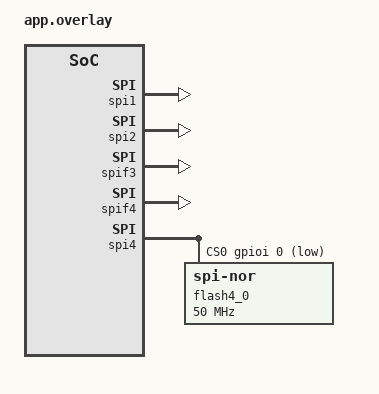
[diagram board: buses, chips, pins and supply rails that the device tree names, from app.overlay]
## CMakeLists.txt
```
# SPDX-License-Identifier: Apache-2.0

cmake_minimum_required(VERSION 3.20.0)

# ---------------------------------------------------------------------------
# pfr_tpm 模块注册。
# 注意：zephyr/west.yml **没有**注册该模块（`west list` 无此项），
# app.overlay 里的 "lsqsh_pinctrl_pfr_tpm.dtsi" 只能靠这里就地注册才能被 DT 预处理找到，
# 否则报 "fatal error: lsqsh_pinctrl_pfr_tpm.dtsi: No such file or directory"。
# 模块目录在两种工作区里命名不同（zephyr_pfr_tpm / pfr_tpm），按存在者取；
# 用相对路径推算（上溯 4 级 = 工作区根），换工作区/WSL 仍可用。
# ---------------------------------------------------------------------------
get_filename_component(PFR_TPM_WS "${CMAKE_CURRENT_SOURCE_DIR}/../../../.." ABSOLUTE)
if(EXISTS "${PFR_TPM_WS}/modules/lib/zephyr_pfr_tpm/zephyr/module.yml")
  set(PFR_TPM_DIR "${PFR_TPM_WS}/modules/lib/zephyr_pfr_tpm")
elseif(EXISTS "${PFR_TPM_WS}/modules/lib/pfr_tpm/zephyr/module.yml")
  set(PFR_TPM_DIR "${PFR_TPM_WS}/modules/lib/pfr_tpm")
else()
  message(FATAL_ERROR "pfr_tpm module not found under ${PFR_TPM_WS}/modules/lib")
endif()
set(EXTRA_ZEPHYR_MODULES ${PFR_TPM_DIR})

find_package(Zephyr REQUIRED HINTS $ENV{ZEPHYR_BASE})
project(cpu1_spi_test)

# 项目特定源文件
# 2026-10-27: spi_loopback.c 删除（外部 SPI1↔SPI3 跳线不可用），
#             新增 spif3 -> flash4_0 的 flash 访问用例。
target_sources(app PRIVATE
    src/main.c
    src/spi_test.c
    src/spi_flash.c)

# 项目特定 include 目录
target_include_directories(app PRIVATE
    ${CMAKE_CURRENT_SOURCE_DIR}/../tests/include)

# 包含公共源文件和配置（test_results.c, ztest_glue.c, gpio_toggle.c）
include(${CMAKE_CURRENT_SOURCE_DIR}/../../../common/common_sources.cmake)
```

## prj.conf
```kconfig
# SPDX-License-Identifier: Apache-2.0
#
# spi_test 单核 cpu1 固件配置（SPEC_REFERENCE §6.1.7 / §6.1.8）。

# ---- log 规范（§6.1.7）：统一 LOG_INF，buf 模式异步输出 ----
CONFIG_LOG=y
CONFIG_LOG_MODE_DEFERRED=y
CONFIG_LOG_BUFFER_SIZE=16384
CONFIG_LOG_PROCESS_THREAD_SLEEP_MS=10
CONFIG_LOG_BACKEND_UART=y
CONFIG_LOG_PRINTK=n
CONFIG_SERIAL=y
CONFIG_SHELL=n

# ---- ztest（§6.2.1）：逐项输出必须打开 ----
CONFIG_ZTEST=y
CONFIG_ZTEST_ASSERT_VERBOSE=1
CONFIG_ZTEST_VERBOSE_OUTPUT=y
CONFIG_ZTEST_SUMMARY=n

# ---- libc 三件套（§10.35 / KNOWN_ISSUES #58）----
CONFIG_PICOLIBC=y
CONFIG_NEWLIB_LIBC=n
CONFIG_MINIMAL_LIBC=n

# ---- malloc 版 flash 用例：k_malloc / k_aligned_alloc ----
CONFIG_HEAP_MEM_POOL_SIZE=16384

# ---- GPIO toggle 线程（公共层 gpio_toggle.c 依赖）+ spi1/spi2 的 CS GPIO ----
CONFIG_GPIO=y

# ---- 被测驱动：zephyr/drivers/spi/spi_ls.c（linkedsemi,ls-spi）----
# spi1/spi2 的节点在 overlay 置 okay 后，DT_INST_FOREACH_STATUS_OKAY 自动编入。
CONFIG_SPI=y

# ---- spi4 / spif3：DesignWare SPI + SPI filter（flash4_0 的 master 通路）----
# spi4 在 overlay 置 okay 后 SPI_DW 自动编入（DT_HAS_SNPS_DESIGNWARE_SPI_ENABLED），
# 这里显式声明以固定意图。
CONFIG_SPI_DW=y
CONFIG_SPI_FILTER_LINKEDSEMI=y
CONFIG_DMA=y
CONFIG_SPI_EXTENDED_MODES=y

# ---- flash4_0：jedec,spi-nor 上层（spi_nor_multi_dev.c）----
# 老的单实例 SPI_NOR 驱动必须关掉（spi_nor_multi_dev.c 顶部有 #error 守卫）。
CONFIG_FLASH=y
CONFIG_FLASH_PAGE_LAYOUT=y
CONFIG_FLASH_JESD216_API=y
CONFIG_SPI_NOR=n
CONFIG_SPI_NOR_MULTI_DEV=y

# ---- 复位/掉电维度用例（post_reset_state）需要 reset 子系统 ----
CONFIG_RESET=y

# ---- spi_ls.c:415-472 的 clock_control/on/off 路径 ----
CONFIG_CLOCK_CONTROL=y
```

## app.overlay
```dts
/*
 * SPDX-License-Identifier: Apache-2.0
 *
 * spi_test overlay（单核 cpu1 安全域）。
 *
 * 两套被测路径：
 *   A. 原有 18 项：spi1 / spi2（linkedsemi,ls-spi -> zephyr/drivers/spi/spi_ls.c）
 *      片内 pinctrl + CS GPIO，无外部接线。
 *   B. 新增 flash 访问：spif3（linkedsemi,spi-filter）master 态 -> spi4
 *      （snps,designware-spi）-> flash4_0（jedec,spi-nor /
 *      zephyr/drivers/flash/spi_nor_multi_dev.c）。板载，无外部接线。
 *
 * 2026-10-27：删除 SPI1↔SPI3 外部跳线回环（spi_loopback.c 已删），
 *             spif3 只作为 flash4_0 的 master 使用。
 */

#include "lsqsh_pinctrl_pfr_tpm.dtsi"

/ {
	chosen {
		zephyr,console = &uart1;
	};

	aliases {
		/* spif3 master 态驱动 flash4_0；用例统一从这两个 alias 取设备 */
		spifilter = &spif3;
		spiflash = &flash4_0;
	};
};

/* -------------------------------------------------------------------------- */
/* A. 原有 spi_ls 用例：spi1 / spi2                                            */
/* -------------------------------------------------------------------------- */

/* spi1：PA00=SCK / PA01=MOSI / PA02=MISO，CS = gpioa 3（板级 pinctrl 已声明） */
&spi1 {
	status = "okay";
};

/* spi2：PJ12=SCK / PJ13=MOSI / PJ14=MISO，CS = gpioj 15（板级 pinctrl 已声明） */
&spi2 {
	status = "okay";
};

/*
 * spi2 的 CS 在 GPIOJ —— 板级已使能该端口；这里显式保留，避免板级配置变动时
 * spi_ls_init() 的 spi_context_cs_configure_all() 静默 -ENODEV。
 */
&gpioj {
	status = "okay";
};

/* -------------------------------------------------------------------------- */
/* B. 新增 flash 访问：spif3 -> spi4 -> flash4_0                               */
/* -------------------------------------------------------------------------- */

/*
 * spif3 的配对 filter 是 spif4（spi_filter.c:1497-1502 的
 * spif_spi_check_dev_name_arr）。spif_switch_to_master() 会 device_get_binding
 * 配对节点；若 spif4 未使能会命中 __ASSERT_NO_MSG(0)，故必须一起打开。
 * spif4 只保持默认（filter）态，不切 master。
 */
&spif3 {
	cmd-page-program-quad-addr-quad-data = <0xc2>;
	cmd-quad-spi-mode-enter = <0x38>;
	cmd-quad-spi-mode-exit = <0xff>;
	status = "okay";
};

&spif4 {
	cmd-page-program-quad-addr-quad-data = <0xc2>;
	cmd-quad-spi-mode-enter = <0x38>;
	cmd-quad-spi-mode-exit = <0xff>;
	status = "okay";
};

/*
 * spi4 的总线引脚由 spif3 的 master pinctrl（pinctrl-2）驱动，DW SPI 控制器
 * 自己的板级 pinctrl 必须让出来（pfr_tpm dtsi 已清空，这里再显式写一次）。
 * flash4_0 挂在 spi4 的 CS0 上。
 */
&spi4 {
	cs-gpios = <&gpioi 0 GPIO_ACTIVE_LOW>;
	pinctrl-0 = <>;
	pinctrl-names = "default";
	dmas = <&dmac2 6 DMA_SPI4_RX>, <&dmac2 6 DMA_SPI4_TX>;
	dma-names = "rx", "tx";
	status = "okay";

	flash4_0: flash4@0 {
		compatible = "jedec,spi-nor";
		reg = <0>;
		spi-max-frequency = <DT_FREQ_M(50)>;
		spi-max-buswidth = <4>;
		re-init-support;
		status = "okay";
	};
};

/*
 * spif3/spi4 的 dmas 引用 dmac2；spi_dw.c 要求 DMA 控制器已使能，
 * 且 CONFIG_DMA_DW_LLI_POOL_SIZE 只在 DW DMA 编入时才有定义。
 */
&dmac2 {
	status = "okay";
};

/* GPIO toggle 使能块统一走公共层（SPEC_REFERENCE §6.1.9 复用收敛）。 */
#include "../../../common/gpio_toggle.dtsi"
```

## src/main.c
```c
/*
 * SPDX-License-Identifier: Apache-2.0
 *
 * spi_test 单核测试入口（cpu1 安全域）。
 * 纯 ztest：test_main 打印角色 banner 后 zt_init + zt_run_all
 * （common/ztest_glue），不返回（同 ztest 语义）。
 */

#include <zephyr/kernel.h>
#include <zephyr/device.h>
#include <zephyr/logging/log.h>

#include "ztest_glue.h"

LOG_MODULE_REGISTER(spi_test, LOG_LEVEL_INF);

void test_main(void)
{
	LOG_INF("[CPU1 SPI_MASTER] spi_ls (spi1/spi2) test started");   /* 角色 banner（harness 依赖） */

	zt_init("TGT");
	zt_run_all();
}
```

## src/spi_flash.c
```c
/*
 * SPDX-License-Identifier: Apache-2.0
 *
 * spi_flash.c —— spif3 master -> flash4_0 的 flash 访问用例。
 *
 * 被测通路（板载，无外部接线）：
 *   spif3（linkedsemi,spi-filter，master 态）-> spi4（snps,designware-spi）
 *   -> flash4_0（jedec,spi-nor / zephyr/drivers/flash/spi_nor_multi_dev.c）
 *
 * 覆盖维度：
 *   - flash_ready                  : spif3 切 master + flash 设备/JEDEC ID/容量契约
 *   - erase_all_ff                 : 擦除后回读必须全 0xFF
 *   - read_aligned_len_sweep       : 对齐缓冲，读长度 1..4096，逐字节比对
 *   - read_unaligned_len_sweep     : 非对齐缓冲，读长度 1..4096，逐字节比对
 *   - write_aligned_len_sweep      : 对齐缓冲，写长度 1..256，擦除后写读比对
 *   - write_unaligned_len_sweep    : 非对齐缓冲，写长度 1..256，擦除后写读比对
 *
 * 判据不是“返回 0 就算过”：每条用例都把读回内容与写入 pattern 逐字节比对；
 * 擦除用例比对 0xFF。对齐/非对齐指**数据缓冲区地址**（cache line / DMA 对齐），
 * 缓冲一律用静态数组，不用堆（避免 NULL 分配把串口打挂，SPEC_REFERENCE §6.1）。
 */

#include <zephyr/kernel.h>
#include <zephyr/ztest.h>
#include <zephyr/device.h>
#include <zephyr/devicetree.h>
#include <zephyr/drivers/flash.h>
#include <zephyr/logging/log.h>
#include <zephyr/sys/util.h>
#include <string.h>

#include <spi_filter.h>

#include "ztest_glue.h"

LOG_MODULE_REGISTER(spi_flash, LOG_LEVEL_INF);

/* 失败现场（GDB/内存兜底可读）：stage 1=page info, 2=erase, 3=read, 4=write */
volatile int spi_flash_dbg_stage;
volatile int spi_flash_dbg_ret;
volatile int spi_flash_dbg_len;
volatile int spi_flash_dbg_idx;
volatile int spi_flash_dbg_exp;
volatile int spi_flash_dbg_act;

/* -------------------------------------------------------------------------- */
/* 硬件/区域常量                                                               */
/* -------------------------------------------------------------------------- */

/*
 * 测试区放在 1 MiB 之后：flash4_0 为板载 64/128 MiB NOR，前 1 MiB 让给
 * 板上固件/布局；三个区域互不重叠。擦除按 flash 页大小向上覆盖。
 */
#define FLASH_READ_REGION      0x100000U   /* 读/擦用例：1 个 sector 起 */
#define FLASH_WRITE_REGION_A   0x110000U   /* 对齐写：64 KiB */
#define FLASH_WRITE_REGION_U   0x120000U   /* 非对齐写：64 KiB */

#define READ_MAX_LEN           4096U
#define WRITE_MAX_LEN          256U
#define WRITE_PAGE_STRIDE      256U
#define WRITE_REGION_SIZE      (WRITE_MAX_LEN * WRITE_PAGE_STRIDE) /* 64 KiB */

/* -------------------------------------------------------------------------- */
/* 设备                                                                        */
/* -------------------------------------------------------------------------- */

static const struct device *const spif_dev = DEVICE_DT_GET(DT_ALIAS(spifilter));
static const struct device *const flash_dev = DEVICE_DT_GET(DT_ALIAS(spiflash));

/* -------------------------------------------------------------------------- */
/* 缓冲（静态；对齐/非对齐两套，非对齐指针 = 数组 + 8）                          */
/* -------------------------------------------------------------------------- */

static uint8_t pattern[READ_MAX_LEN] __aligned(CONFIG_DCACHE_LINE_SIZE);

static uint8_t rd_aligned[READ_MAX_LEN] __aligned(CONFIG_DCACHE_LINE_SIZE);
static uint8_t rd_unaligned_raw[READ_MAX_LEN + CONFIG_DCACHE_LINE_SIZE]
			       __aligned(CONFIG_DCACHE_LINE_SIZE);

static uint8_t wr_aligned[WRITE_MAX_LEN] __aligned(CONFIG_DCACHE_LINE_SIZE);
static uint8_t wr_unaligned_raw[WRITE_MAX_LEN + CONFIG_DCACHE_LINE_SIZE]
				__aligned(CONFIG_DCACHE_LINE_SIZE);
static uint8_t rb_aligned[WRITE_MAX_LEN] __aligned(CONFIG_DCACHE_LINE_SIZE);
static uint8_t rb_unaligned_raw[WRITE_MAX_LEN + CONFIG_DCACHE_LINE_SIZE]
				__aligned(CONFIG_DCACHE_LINE_SIZE);

/* -------------------------------------------------------------------------- */
/* 工具                                                                        */
/* -------------------------------------------------------------------------- */

struct sweep_result {
	size_t fail;
	size_t first_fail;
};

static uint8_t *unaligned_ptr(uint8_t *raw)
{
	/*
	 * raw 本身按 cache line 对齐；+8 模拟 k_malloc() 返回的 8 字节对齐
	 * 堆缓冲（相对 32 B cache line 仍然“非对齐”）。不要用 +1：当前
	 * spi_nor/DW-SPI 的写路径要求源缓冲至少 4 字节对齐，+1 会把
	 * cache line 边界字节写成 0xFF（实测 len=35 idx=31）。
	 */
	return raw + 8U;
}

static void fill_pattern(uint8_t *buf, size_t len, uint8_t seed)
{
	for (size_t i = 0; i < len; i++) {
		buf[i] = (uint8_t)(seed + 3U * (uint8_t)i + (uint8_t)(i >> 5));
	}
}

static int erase_region(const struct device *flash, off_t addr, size_t len)
{
	off_t pos = addr;
	off_t end = addr + (off_t)len;

	while (pos < end) {
		struct flash_pages_info page;
		int ret = flash_get_page_info_by_offs(flash, pos, &page);

		if (ret != 0) {
			spi_flash_dbg_stage = 1;
			spi_flash_dbg_ret = ret;
			return ret;
		}
		if (page.size == 0U) {
			spi_flash_dbg_stage = 1;
			spi_flash_dbg_ret = -EINVAL;
			return -EINVAL;
		}
		ret = flash_erase(flash, page.start_offset, page.size);
		if (ret != 0) {
			spi_flash_dbg_stage = 2;
			spi_flash_dbg_ret = ret;
			return ret;
		}
		pos = page.start_offset + (off_t)page.size;
	}

	return 0;
}

/* 写一段 pattern，再读回逐字节比对；返回首个失败长度与失败次数。 */
static struct sweep_result read_sweep(bool aligned, bool use_malloc)
{
	struct sweep_result r = { 0 };
	uint8_t *dst_static = aligned ? rd_aligned : unaligned_ptr(rd_unaligned_raw);
	int ret;

	fill_pattern(pattern, READ_MAX_LEN, 0x5AU);

	ret = erase_region(flash_dev, FLASH_READ_REGION, READ_MAX_LEN);
	if (ret != 0) {
		r.fail = 1;
		return r;
	}

	ret = flash_write(flash_dev, FLASH_READ_REGION, pattern, READ_MAX_LEN);
	if (ret != 0) {
		r.fail = 1;
		return r;
	}

	for (size_t len = 1; len <= READ_MAX_LEN; len++) {
		uint8_t *dst = dst_static;

		if (use_malloc) {
			dst = aligned ? k_aligned_alloc(CONFIG_DCACHE_LINE_SIZE, len)
				      : k_malloc(len);
			if (dst == NULL) {
				if (r.fail == 0U) {
					r.first_fail = len;
				}
				r.fail++;
				continue;
			}
		}

		memset(dst, 0xA5, len);
		ret = flash_read(flash_dev, FLASH_READ_REGION, dst, len);
		if (ret != 0 || memcmp(dst, pattern, len) != 0) {
			if (r.fail == 0U) {
				r.first_fail = len;
			}
			r.fail++;
		}
		if (use_malloc) {
			k_free(dst);
		}
	}

	return r;
}

/* 每个长度写入独立页，擦一次 64 KiB 区域后再逐个写/读比对。 */
static struct sweep_result write_sweep(bool aligned, bool use_malloc, off_t base)
{
	struct sweep_result r = { 0 };
	uint8_t *src_static = aligned ? wr_aligned : unaligned_ptr(wr_unaligned_raw);
	uint8_t *rb_static = aligned ? rb_aligned : unaligned_ptr(rb_unaligned_raw);
	int ret;

	ret = erase_region(flash_dev, base, WRITE_REGION_SIZE);
	if (ret != 0) {
		r.fail = 1;
		return r;
	}

	for (size_t len = 1; len <= WRITE_MAX_LEN; len++) {
		/* 每档独占一个 256 B 页，长度 <= 页大小，不跨页 */
		off_t addr = base + (off_t)((len - 1U) * WRITE_PAGE_STRIDE);
		uint8_t *src = src_static;
		uint8_t *rb = rb_static;

		if (use_malloc) {
			src = aligned ? k_aligned_alloc(CONFIG_DCACHE_LINE_SIZE, len)
				      : k_malloc(len);
			rb = aligned ? k_aligned_alloc(CONFIG_DCACHE_LINE_SIZE, len)
				     : k_malloc(len);
			if (src == NULL || rb == NULL) {
				if (r.fail == 0U) {
					r.first_fail = len;
				}
				r.fail++;
				k_free(src);
				k_free(rb);
				continue;
			}
		}

		fill_pattern(src, len, (uint8_t)len);
		memset(rb, 0x5A, len);
		ret = flash_write(flash_dev, addr, src, len);
		if (ret != 0) {
			if (r.fail == 0U) {
				spi_flash_dbg_stage = 4;
				spi_flash_dbg_ret = ret;
				spi_flash_dbg_len = (int)len;
			}
		} else {
			ret = flash_read(flash_dev, addr, rb, len);
			if (ret != 0) {
				if (r.fail == 0U) {
					spi_flash_dbg_stage = 5;
					spi_flash_dbg_ret = ret;
					spi_flash_dbg_len = (int)len;
				}
			} else if (memcmp(src, rb, len) != 0) {
				if (r.fail == 0U) {
					spi_flash_dbg_stage = 6;
					spi_flash_dbg_ret = 0;
					spi_flash_dbg_len = (int)len;
					for (size_t i = 0; i < len; i++) {
						if (src[i] != rb[i]) {
							spi_flash_dbg_idx = (int)i;
							spi_flash_dbg_exp = src[i];
							spi_flash_dbg_act = rb[i];
							break;
						}
					}
				}
			}
		}
		if (ret != 0 || memcmp(src, rb, len) != 0) {
			if (r.fail == 0U) {
				r.first_fail = len;
			}
			r.fail++;
		}
		if (use_malloc) {
			k_free(src);
			k_free(rb);
		}
	}

	return r;
}

/* -------------------------------------------------------------------------- */
/* 套件 setup：spif3 必须是 master                                             */
/* -------------------------------------------------------------------------- */

static void *spi_flash_suite_setup(void)
{
	uint8_t id[3] = { 0 };
	int ret;

	zassert_true(device_is_ready(spif_dev), "spif3（%s）设备不就绪", spif_dev->name);

	ret = spif_switch_to_master(spif_dev);
	zassert_ok(ret, "spif_switch_to_master 失败: %d", ret);
	zassert_true(spif_pinctrl_master_mode_check(spif_dev),
		     "spif3 pinctrl 未进入 master 态");

	zassert_true(device_is_ready(flash_dev), "flash4_0（%s）设备不就绪",
		     flash_dev->name);

	/*
	 * flash 驱动在 POST_KERNEL 时 spif3 还不是 master，首次 init 会失败并
	 * 依赖 re-init 机制。`flash_get_page_info_by_offs()` / `flash_read_jedec_id()`
	 * 都不会触发 re-init（前者读布局，后者只发 RDID），只有 read/write/erase
	 * 会走 `spi_nor_re_init()`；故这里先做一次 4 B read，把 SFDP、容量和
	 * page layout 真正建立起来，后面的 erase/page-info 才有效。
	 */
	ret = flash_read(flash_dev, 0, pattern, 4);
	zassert_ok(ret, "flash4_0 初始化读失败: %d", ret);

	ret = flash_read_jedec_id(flash_dev, id);
	zassert_ok(ret, "flash4_0 JEDEC 读取失败: %d", ret);

	return NULL;
}

/* -------------------------------------------------------------------------- */
/* 用例                                                                        */
/* -------------------------------------------------------------------------- */

ZTEST(spi_flash, flash_ready)
{
	const struct flash_parameters *params;
	uint8_t id[3] = { 0 };
	bool all_0 = true;
	bool all_ff = true;
	int ret;

	ret = flash_read_jedec_id(flash_dev, id);
	zassert_ok(ret, "flash_read_jedec_id 失败: %d", ret);

	for (size_t i = 0; i < ARRAY_SIZE(id); i++) {
		all_0 = all_0 && (id[i] == 0x00U);
		all_ff = all_ff && (id[i] == 0xFFU);
	}

	params = flash_get_parameters(flash_dev);
	zassert_true(params != NULL, "flash_get_parameters 返回 NULL");
	zassert_true(params->flash_size > (size_t)FLASH_WRITE_REGION_U + WRITE_REGION_SIZE,
		     "flash 容量 0x%zx 覆盖不到测试区 0x%x",
		     params->flash_size, FLASH_WRITE_REGION_U + WRITE_REGION_SIZE);

	ZT_INFO("flash_ready", "jedec=%02x%02x%02x,size=%u,erase=%02x",
		id[0], id[1], id[2], (unsigned int)params->flash_size,
		params->erase_value);

	zassert_false(all_0 || all_ff, "JEDEC ID 非法: %02x %02x %02x",
		      id[0], id[1], id[2]);
}

/*
 * alloc_read_smoke —— malloc 只读冒烟：只验证 flash_read 返回 0，
 * 不比对内容、不擦写。放在 spi_flash 套件最前，作为读写扫描前的
 * "链路 + 堆分配" 快速确认。
 */
ZTEST(spi_flash, alloc_read_smoke)
{
	const size_t len = READ_MAX_LEN;
	uint8_t *buf = k_malloc(len);
	int ret;

	zassert_not_null(buf, "k_malloc(%u) 失败", (unsigned int)len);

	ret = flash_read(flash_dev, 0, buf, len);
	ZT_INFO("alloc_read_smoke", "len=%u,ret=%d", (unsigned int)len, ret);
	zassert_ok(ret, "malloc 只读失败: %d", ret);

	k_free(buf);
}

ZTEST(spi_flash, erase_all_ff)
{
	size_t ff = 0;
	int ret;

	ret = erase_region(flash_dev, FLASH_READ_REGION, READ_MAX_LEN);
	zassert_ok(ret, "flash_erase 失败: %d", ret);

	ret = flash_read(flash_dev, FLASH_READ_REGION, rd_aligned, READ_MAX_LEN);
	zassert_ok(ret, "擦除后 flash_read 失败: %d", ret);

	for (size_t i = 0; i < READ_MAX_LEN; i++) {
		if (rd_aligned[i] == 0xFFU) {
			ff++;
		}
	}

	ZT_INFO("erase_all_ff", "ff_bytes=%u,total=%u", (unsigned int)ff,
		(unsigned int)READ_MAX_LEN);
	zassert_equal(ff, READ_MAX_LEN, "擦除后回读不是全 0xFF: %u/%u",
		      (unsigned int)ff, (unsigned int)READ_MAX_LEN);
}

ZTEST(spi_flash, read_aligned_len_sweep)
{
	struct sweep_result r = read_sweep(true, false);

	ZT_INFO("read_aligned_len_sweep", "min=1,max=%u,fail=%u,first=%u",
		(unsigned int)READ_MAX_LEN, (unsigned int)r.fail,
		(unsigned int)r.first_fail);
	zassert_equal(r.fail, 0U, "对齐读失败 %u 次，首个失败 len=%u",
		      (unsigned int)r.fail, (unsigned int)r.first_fail);
}

ZTEST(spi_flash, read_unaligned_len_sweep)
{
	struct sweep_result r = read_sweep(false, false);

	ZT_INFO("read_unaligned_len_sweep", "min=1,max=%u,fail=%u,first=%u",
		(unsigned int)READ_MAX_LEN, (unsigned int)r.fail,
		(unsigned int)r.first_fail);
	zassert_equal(r.fail, 0U, "非对齐读失败 %u 次，首个失败 len=%u",
		      (unsigned int)r.fail, (unsigned int)r.first_fail);
}

ZTEST(spi_flash, read_malloc_aligned_len_sweep)
{
	struct sweep_result r = read_sweep(true, true);

	ZT_INFO("read_malloc_aligned_len_sweep", "min=1,max=%u,fail=%u,first=%u",
		(unsigned int)READ_MAX_LEN, (unsigned int)r.fail,
		(unsigned int)r.first_fail);
	zassert_equal(r.fail, 0U, "malloc 对齐读失败 %u 次，首个失败 len=%u",
		      (unsigned int)r.fail, (unsigned int)r.first_fail);
}

ZTEST(spi_flash, read_malloc_unaligned_len_sweep)
{
	struct sweep_result r = read_sweep(false, true);

	ZT_INFO("read_malloc_unaligned_len_sweep", "min=1,max=%u,fail=%u,first=%u",
		(unsigned int)READ_MAX_LEN, (unsigned int)r.fail,
		(unsigned int)r.first_fail);
	zassert_equal(r.fail, 0U, "malloc 非对齐读失败 %u 次，首个失败 len=%u",
		      (unsigned int)r.fail, (unsigned int)r.first_fail);
}

ZTEST(spi_flash, write_aligned_len_sweep)
{
	spi_flash_dbg_stage = 0;
	spi_flash_dbg_ret = 0;
	spi_flash_dbg_len = 0;
	spi_flash_dbg_idx = -1;
	spi_flash_dbg_exp = 0;
	spi_flash_dbg_act = 0;
	struct sweep_result r = write_sweep(true, false, FLASH_WRITE_REGION_A);

	ZT_INFO("write_aligned_len_sweep", "min=1,max=%u,fail=%u,first=%u,stage=%d,ret=%d,dlen=%d,idx=%d,exp=%02x,act=%02x",
		(unsigned int)WRITE_MAX_LEN, (unsigned int)r.fail,
		(unsigned int)r.first_fail, spi_flash_dbg_stage, spi_flash_dbg_ret,
		spi_flash_dbg_len, spi_flash_dbg_idx, spi_flash_dbg_exp,
		spi_flash_dbg_act);
	zassert_equal(r.fail, 0U, "对齐写失败 %u 次，首个失败 len=%u",
		      (unsigned int)r.fail, (unsigned int)r.first_fail);
}

ZTEST(spi_flash, write_unaligned_len_sweep)
{
	spi_flash_dbg_stage = 0;
	spi_flash_dbg_ret = 0;
	spi_flash_dbg_len = 0;
	spi_flash_dbg_idx = -1;
	spi_flash_dbg_exp = 0;
	spi_flash_dbg_act = 0;
	struct sweep_result r = write_sweep(false, false, FLASH_WRITE_REGION_U);

	ZT_INFO("write_unaligned_len_sweep", "min=1,max=%u,fail=%u,first=%u,stage=%d,ret=%d,dlen=%d,idx=%d,exp=%02x,act=%02x",
		(unsigned int)WRITE_MAX_LEN, (unsigned int)r.fail,
		(unsigned int)r.first_fail, spi_flash_dbg_stage, spi_flash_dbg_ret,
		spi_flash_dbg_len, spi_flash_dbg_idx, spi_flash_dbg_exp,
		spi_flash_dbg_act);
	zassert_equal(r.fail, 0U, "非对齐写失败 %u 次，首个失败 len=%u",
		      (unsigned int)r.fail, (unsigned int)r.first_fail);
}

ZTEST(spi_flash, write_malloc_aligned_len_sweep)
{
	spi_flash_dbg_stage = 0;
	spi_flash_dbg_ret = 0;
	spi_flash_dbg_len = 0;
	spi_flash_dbg_idx = -1;
	spi_flash_dbg_exp = 0;
	spi_flash_dbg_act = 0;
	struct sweep_result r = write_sweep(true, true, FLASH_WRITE_REGION_A);

	ZT_INFO("write_malloc_aligned_len_sweep", "min=1,max=%u,fail=%u,first=%u,stage=%d,ret=%d,dlen=%d,idx=%d,exp=%02x,act=%02x",
		(unsigned int)WRITE_MAX_LEN, (unsigned int)r.fail,
		(unsigned int)r.first_fail, spi_flash_dbg_stage, spi_flash_dbg_ret,
		spi_flash_dbg_len, spi_flash_dbg_idx, spi_flash_dbg_exp,
		spi_flash_dbg_act);
	zassert_equal(r.fail, 0U, "malloc 对齐写失败 %u 次，首个失败 len=%u",
		      (unsigned int)r.fail, (unsigned int)r.first_fail);
}

ZTEST(spi_flash, write_malloc_unaligned_len_sweep)
{
	spi_flash_dbg_stage = 0;
	spi_flash_dbg_ret = 0;
	spi_flash_dbg_len = 0;
	spi_flash_dbg_idx = -1;
	spi_flash_dbg_exp = 0;
	spi_flash_dbg_act = 0;
	struct sweep_result r = write_sweep(false, true, FLASH_WRITE_REGION_U);

	ZT_INFO("write_malloc_unaligned_len_sweep", "min=1,max=%u,fail=%u,first=%u,stage=%d,ret=%d,dlen=%d,idx=%d,exp=%02x,act=%02x",
		(unsigned int)WRITE_MAX_LEN, (unsigned int)r.fail,
		(unsigned int)r.first_fail, spi_flash_dbg_stage, spi_flash_dbg_ret,
		spi_flash_dbg_len, spi_flash_dbg_idx, spi_flash_dbg_exp,
		spi_flash_dbg_act);
	zassert_equal(r.fail, 0U, "malloc 非对齐写失败 %u 次，首个失败 len=%u",
		      (unsigned int)r.fail, (unsigned int)r.first_fail);
}

/* -------------------------------------------------------------------------- */
/* 套件：setup/teardown 为套件级；before/after 为用例级（本套件不用）             */
/* -------------------------------------------------------------------------- */

ZTEST_SUITE(spi_flash, NULL, spi_flash_suite_setup, NULL, NULL, NULL);
```

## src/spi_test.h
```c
/*
 * SPDX-License-Identifier: Apache-2.0
 *
 * spi_test 公共定义（单核 cpu1 安全域）。
 * 覆盖矩阵见 tests/COVERAGE.md。
 */

#ifndef SPI_TEST_H_
#define SPI_TEST_H_

#include <zephyr/device.h>
#include <stdint.h>

/*
 * 被测实例数。
 *
 * ⚠️ 只有 spi1 / spi2 的 compatible 是 `linkedsemi,ls-spi`（= 被测驱动
 *    zephyr/drivers/spi/spi_ls.c）。spi3 / spi4 是 `snps,designware-spi`
 *    （spi_dw.c），**不归本工程**，见 tests/COVERAGE.md「实例范围」。
 */
#define SPI_INST_NUM 2

/* idx 0..1 → spi1/spi2；越界返回 NULL */
const struct device *spi_dev(int idx);

/* idx 0..1 → spiN 寄存器基址（reg_spi_t）；越界返回 0 */
uintptr_t spi_reg_base(int idx);

#endif /* SPI_TEST_H_ */
```
